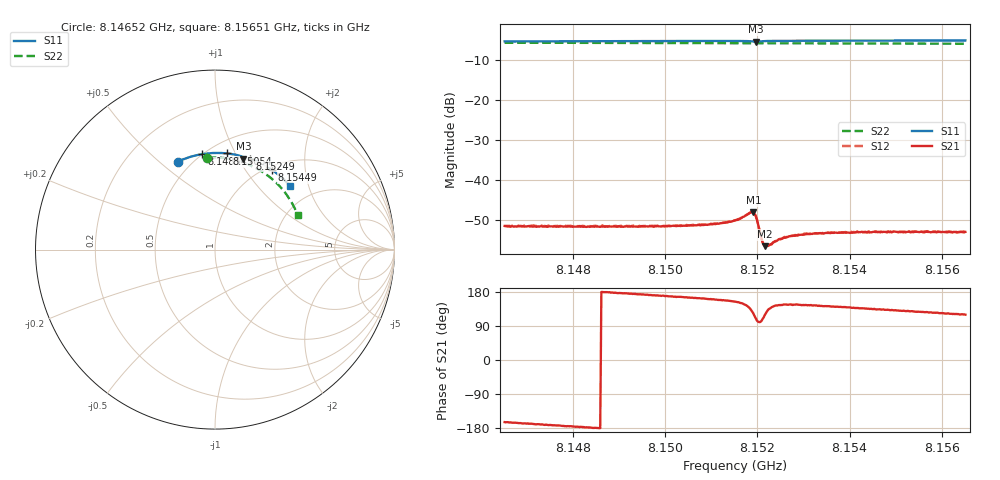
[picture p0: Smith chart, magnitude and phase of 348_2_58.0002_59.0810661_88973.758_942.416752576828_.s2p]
#  HZ  S  RI  R  50.00
! Rohde & Schwarz Vector Network Analyzer
! Rohde-Schwarz,ZNB20-2Port,1311601062101988,3.16
! Created: UTC 3/21/2024, 1:05:54 AM
! freq[Hz]  re:S11  im:S11  re:S21  im:S21  re:S12  im:S12  re:S22  im:S22
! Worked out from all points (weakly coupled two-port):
!   401 points, 8.14652 GHz to 8.15651 GHz, reference 50 ohm
!   highest |S21| = -48.03 dB at 8.15191 GHz (marker M1); lowest = -56.5 dB at 8.15216 GHz (marker M2)
!   lowest |S11| = -5.5 dB at 8.15196 GHz (marker M3), VSWR 3.26, Z = 37.3 + j52.5 ohm
!   |S11| at or under -10 dB: nowhere
!   |S22| runs from -6.0 to -5.8 dB; largest |S21 - S12| = 0.00012
!   S11 on the Smith chart (normalised r, x): 8.14652 GHz: 0.42, +0.58; 8.14854 GHz: 0.50, +0.74; 8.15054 GHz: 0.61, +0.92; 8.15249 GHz: 0.78, +1.11; 8.15449 GHz: 1.06, +1.34; 8.15651 GHz: 1.52, +1.53
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8.146519e9  -0.2081 0.4905  -0.00256 -0.000739  -0.00259 -0.00066  -0.0419 0.5122
8.148193e9  -0.0972 0.527  -0.00264 -0.000156  -0.00267 -8.81e-05  0.0676 0.5076
8.148543e9  -0.0732 0.5315  -0.00262 -3.07e-05  -0.00266 4.74e-05  0.09 0.5039
8.149867e9  0.0187 0.5385  -0.00259 0.000472  -0.00264 0.000527  0.1722 0.48
8.150541e9  0.0655 0.536  -0.00261 0.000727  -0.00262 0.000733  0.2119 0.4627
8.151116e9  0.1057 0.5302  -0.00266 0.000999  -0.00265 0.00105  0.2446 0.4455
8.151515e9  0.1339 0.5239  -0.00281 0.00136  -0.00279 0.00143  0.2661 0.4321
8.151665e9  0.1449 0.5204  -0.00292 0.0017  -0.00289 0.00178  0.2741 0.4268
8.15184e9  0.1571 0.5128  -0.0028 0.0027  -0.00279 0.00273  0.2833 0.4204
8.151915e9  0.1594 0.5079  -0.00213 0.00335  -0.00202 0.00339  0.2868 0.4173
8.151965e9  0.1588 0.5061  -0.00123 0.00333  -0.00118 0.00339  0.2893 0.4156
8.152015e9  0.1582 0.507  -0.000532 0.00276  -0.000484 0.00277  0.2919 0.4137
8.15209e9  0.1618 0.5104  -0.000421 0.00181  -0.000403 0.00179  0.2956 0.4111
8.15214e9  0.1657 0.5113  -0.000605 0.00142  -0.000622 0.00143  0.2981 0.4092
8.152165e9  0.1678 0.5115  -0.000736 0.0013  -0.000739 0.00131  0.2995 0.4084
8.152265e9  0.1759 0.511  -0.0011 0.00108  -0.0011 0.00111  0.3046 0.4045
8.152489e9  0.1924 0.5068  -0.00149 0.00104  -0.00153 0.00103  0.3157 0.3954
8.152714e9  0.2079 0.5015  -0.00166 0.0011  -0.00163 0.00113  0.3265 0.386
8.153189e9  0.2388 0.4885  -0.00171 0.00126  -0.00175 0.0013  0.3482 0.3655
8.154488e9  0.317 0.4441  -0.00156 0.0016  -0.00156 0.0016  0.4009 0.3032
8.154863e9  0.3379 0.4292  -0.0015 0.00166  -0.0015 0.00169  0.4141 0.2839
8.156511e9  0.4206 0.3517  -0.00111 0.00195  -0.00112 0.00198  0.4602 0.1926
